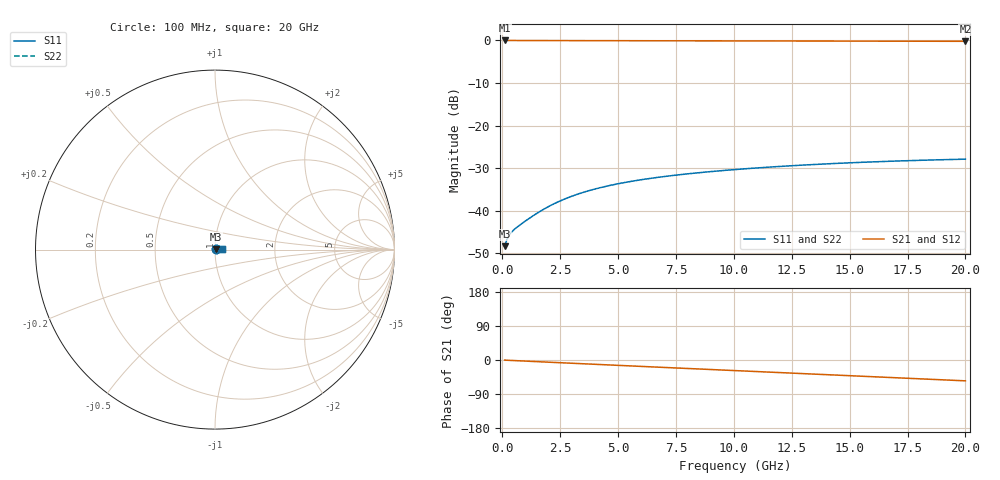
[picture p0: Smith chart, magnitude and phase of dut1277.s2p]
! Touchstone file exported from HFSS 2026.1.0
!  File:  C:/ffzhzh/LocalFiles/Ansys_Project_Files/temp_train_BSMRDL_1277_1783177775_18472.aedt
!  Generated:  11:10:55 PM Jul  4, 2026
!  Design:  BSMRDL
!  Project:  temp_train_BSMRDL_1277_1783177775_18472
! Variables:
!  h_bsmrdl = 5.14um
!  h_ox = 20um
!  h_rdl = 5um
!  h_sub = 80um
!  h_tmrdl = 5um
!  h_tsv = 80um
!  h_via = 3um
!  l_bsmrdl = 998.17um
!  l_sub = 1398.17um
!  l_tmrdl = 200um
!  m_sub = 200um
!  pitch = 26.25um
!  r_tsv = 6um
!  s_tmrdl = 10um
!  w_bsmrdl = 20.65um
!  w_sub = 500um
!  w_tmrdl = 12um
!  x_tsv_center1 = 206um
!  x_tsv_center2 = 1224.82um
!  x_tsv_center3 = 1436.82um
!  x_tsv_center4 = 2455.64um
!  x_tsv_center5 = 2667.64um
!  x_tsv_center6 = 3686.46um
# GHz S MA R 50.000000
! Terminal data exported
! Port[1] = BSM_RDL1_1_T1
! Port[2] = BSM_RDL1_1_T2
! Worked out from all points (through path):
!   200 points, 100 MHz to 20 GHz, reference 50 ohm
!   highest |S21| = -0.03 dB at 100 MHz (marker M1); lowest = -0.2 dB at 20 GHz (marker M2)
!   group delay of S21, straight-line fit = 7.6 ps
!   lowest |S11| = -48.3 dB at 100 MHz (marker M3), VSWR 1.01, Z = 50.4 + j0.114 ohm
!   |S11| at or under -10 dB: start of sweep to end of sweep
!   |S22| runs from -48.3 to -27.8 dB; largest |S21 - S12| = 3.6e-15
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0.1  0.003832 17.2  0.9963 -0.3  0.9963 -0.3  0.003832 17.2
! Gamma 0 0 0 0
! Port Impedance 50 0 50 0
0.2  0.004587 23.9  0.9958 -0.6  0.9958 -0.6  0.004588 23.9
0.3  0.005179 26.3  0.9954 -0.9  0.9954 -0.9  0.005179 26.3
0.4  0.005615 28.0  0.9951 -1.2  0.9951 -1.2  0.005616 28.0
0.5  0.005971 29.6  0.9949 -1.5  0.9949 -1.5  0.005972 29.6
0.7  0.006605 33.1  0.9946 -2.1  0.9946 -2.1  0.006607 33.1
1.2  0.008257 40.3  0.994 -3.5  0.994 -3.5  0.00826 40.3
1.8  0.01045 44.7  0.9932 -5.2  0.9932 -5.2  0.01045 44.7
2.3  0.0123 46.0  0.9925 -6.6  0.9925 -6.6  0.01231 45.9
2.9  0.01444 45.9  0.9915 -8.3  0.9915 -8.3  0.01445 45.8
3.5  0.01643 44.9  0.9904 -10.0  0.9904 -10.0  0.01644 44.8
4.2  0.01854 43.2  0.9892 -12.0  0.9892 -12.0  0.01857 43.0
5  0.02071 40.9  0.9879 -14.2  0.9879 -14.2  0.02075 40.7
5.8  0.02264 38.6  0.9866 -16.4  0.9866 -16.4  0.02269 38.4
6.8  0.02479 35.8  0.9852 -19.1  0.9852 -19.1  0.02485 35.5
8.3  0.02759 31.7  0.9834 -23.2  0.9834 -23.2  0.02769 31.4
10.1  0.03048 27.1  0.9815 -28.1  0.9815 -28.1  0.03062 26.6
11.7  0.03271 23.0  0.9799 -32.5  0.9799 -32.5  0.03289 22.5
13.4  0.03478 18.8  0.9785 -37.1  0.9785 -37.1  0.03501 18.2
16.7  0.03801 10.7  0.9759 -46.1  0.9759 -46.1  0.03835 9.7
18.4  0.03929 6.4  0.9746 -50.7  0.9746 -50.7  0.03968 5.4
20  0.04025 2.5  0.9735 -55.0  0.9735 -55.0  0.0407 1.3
